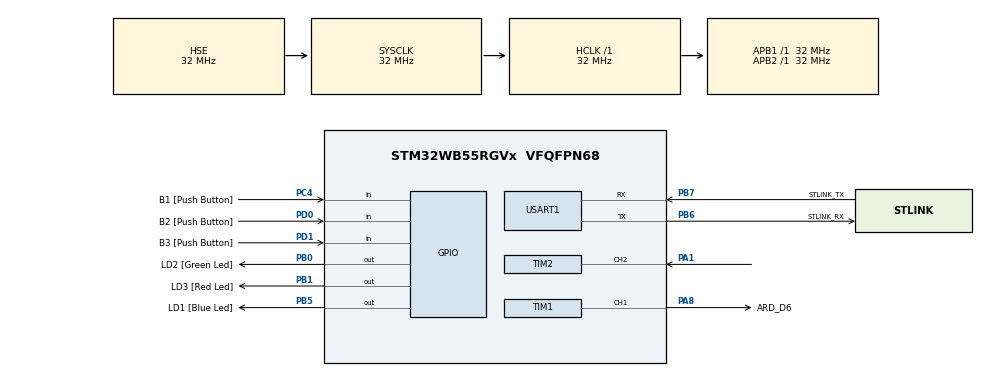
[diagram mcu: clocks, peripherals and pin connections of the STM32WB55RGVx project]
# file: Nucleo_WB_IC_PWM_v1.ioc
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Mcu.Family=STM32WB
Mcu.Name=STM32WB55RGVx
Mcu.Package=VFQFPN68
NVIC.PriorityGroup=NVIC_PRIORITYGROUP_4
NVIC.TIM2_IRQn=true\:0\:0\:false\:false\:true\:true\:true
OSC_IN.Mode=HSE-External-Oscillator
OSC_IN.Signal=RCC_OSC_IN
OSC_OUT.Mode=HSE-External-Oscillator
OSC_OUT.Signal=RCC_OSC_OUT
PA1.Signal=S_TIM2_CH2
PA13.GPIO_Label=JTMS
PA13.Mode=Trace_Asynchronous_SW
PA13.Signal=SYS_JTMS-SWDIO
PA14.GPIO_Label=JTCK
PA14.Mode=Trace_Asynchronous_SW
PA14.Signal=SYS_JTCK-SWCLK
PA8.GPIO_Label=ARD_D6
PA8.Signal=S_TIM1_CH1
PB0.GPIO_Label=LD2 [Green Led]
PB0.Signal=GPIO_Output
PB1.GPIO_Label=LD3 [Red Led]
PB1.Signal=GPIO_Output
PB3.GPIO_Label=JTDO
PB3.Mode=Trace_Asynchronous_SW
PB3.Signal=SYS_JTDO-SWO
PB5.GPIO_Label=LD1 [Blue Led]
PB5.Signal=GPIO_Output
PB6.GPIO_Label=STLINK_RX
PB6.GPIO_PuPd=GPIO_PULLUP
PB6.Mode=Asynchronous
PB6.Signal=USART1_TX
PB7.GPIO_Label=STLINK_TX
PB7.GPIO_PuPd=GPIO_PULLUP
PB7.Mode=Asynchronous
PB7.Signal=USART1_RX
PC13.Mode=SYS_WakeUp1
PC13.Signal=SYS_WKUP2
PC14-OSC32_IN.Mode=LSE-External-Oscillator
PC14-OSC32_IN.Signal=RCC_OSC32_IN
PC15-OSC32_OUT.Mode=LSE-External-Oscillator
PC15-OSC32_OUT.Signal=RCC_OSC32_OUT
PC4.GPIO_Label=B1 [Push Button]
PC4.Signal=GPIO_Input
PD0.GPIO_Label=B2 [Push Button]
PD0.Signal=GPIO_Input
PD1.GPIO_Label=B3 [Push Button]
PD1.Signal=GPIO_Input
ProjectManager.HeapSize=0x200
ProjectManager.StackSize=0x400
ProjectManager.TargetToolchain=STM32CubeIDE
RCC.ADCFreq_Value=48000000
RCC.AHBFreq_Value=32000000
RCC.APB1Freq_Value=32000000
RCC.APB1TimFreq_Value=32000000
RCC.APB2Freq_Value=32000000
RCC.APB2TimFreq_Value=32000000
RCC.APB3Freq_Value=16000000
RCC.CortexFreq_Value=32000000
RCC.HCLKFreq_Value=32000000
RCC.HSE_VALUE=32000000
RCC.HSI48_VALUE=48000000
RCC.HSI_VALUE=16000000
RCC.PLLN=32
RCC.PLLSAI1N=24
RCC.SMPSCLockSelectionVirtual=RCC_SMPSCLKSOURCE_HSI
RCC.SMPSCLockSelectionVirtualVirtual=RCC_SMPSCLKSOURCE_HSI
RCC.SMPSDivider=1
RCC.SYSCLKFreq_VALUE=32000000
RCC.SYSCLKSource=RCC_SYSCLKSOURCE_HSE
RCC.USBFreq_Value=48000000
RCC.VCOOutputFreq_Value=128000000
SH.S_TIM1_CH1.0=TIM1_CH1,PWM Generation1 CH1
SH.S_TIM2_CH2.0=TIM2_CH2,Input_Capture2_from_TI2
TIM1.Channel-PWM\ Generation1\ CH1=TIM_CHANNEL_1
TIM1.Period=1279
TIM1.Prescaler=1249
TIM1.Pulse-PWM\ Generation1\ CH1=639
TIM2.Channel-Input_Capture2_from_TI2=TIM_CHANNEL_2
TIM2.Period=0xffffffff
TIM2.Prescaler=0
USART1.VirtualMode-Asynchronous=VM_ASYNC
USART1.WordLength=WORDLENGTH_8B
VP_TIM1_VS_ClockSourceINT.Mode=Internal
VP_TIM2_VS_ClockSourceINT.Mode=Internal
board=P-NUCLEO-WB55-Nucleo

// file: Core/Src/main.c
/* USER CODE BEGIN Header */
/**
 ******************************************************************************
 * @file           : main.c
 * @brief          : Main program body
 ******************************************************************************
 * @attention
 *
 * <h2><center>&copy; Copyright (c) 2022 STMicroelectronics.
 * All rights reserved.</center></h2>
 *
 * This software component is licensed by ST under BSD 3-Clause license,
 * the "License"; You may not use this file except in compliance with the
 * License. You may obtain a copy of the License at:
 *                        opensource.org/licenses/BSD-3-Clause
 *
 ******************************************************************************

 // interrupt based version
 // TODO DMA version
 */
/* USER CODE END Header */
#include "main.h"

/* USER CODE BEGIN Includes */
#include <stdio.h>
#include <math.h>
#include <string.h> /* strlen */
#include <inttypes.h>

/* USER CODE END Includes */

TIM_HandleTypeDef htim1;
TIM_HandleTypeDef htim2;

UART_HandleTypeDef huart1;

/* USER CODE BEGIN PV */
#define TX_BUF_DIM    256
char buffer[TX_BUF_DIM];

uint32_t captures[2];

volatile uint8_t  captureDone = 0;
volatile uint16_t uhCaptureIndex = 0;
volatile uint32_t diffCapture = 0;
volatile float period = 0;

/* USER CODE END PV */

void SystemClock_Config(void);
static void MX_GPIO_Init(void);
static void MX_TIM2_Init(void);
static void MX_USART1_UART_Init(void);
static void MX_TIM1_Init(void);
/* USER CODE BEGIN PFP */

static float getFrequency(void);
/* USER CODE END PFP */

/* USER CODE BEGIN 0 */

uint32_t DWT_Delay_Init(void)
{
	/* Disable TRC */
	CoreDebug->DEMCR &= ~CoreDebug_DEMCR_TRCENA_Msk; // ~0x01000000;
	/* Enable TRC */
	CoreDebug->DEMCR |=  CoreDebug_DEMCR_TRCENA_Msk; // 0x01000000;
	/* Disable clock cycle counter */
	DWT->CTRL &= ~DWT_CTRL_CYCCNTENA_Msk; //~0x00000001;
	/* Enable  clock cycle counter */
	DWT->CTRL |=  DWT_CTRL_CYCCNTENA_Msk; //0x00000001;
	/* Reset the clock cycle counter value */
	DWT->CYCCNT = 0;
	/* 3 NO OPERATION instructions */
	__ASM volatile ("NOP");
	__ASM volatile ("NOP");
	__ASM volatile ("NOP");
	/* Check if clock cycle counter has started */
	if(DWT->CYCCNT)
	{
		return 0; /*clock cycle counter started*/
	}
	else
	{
		return 1; /*clock cycle counter not started*/
	}
}

// This Function Provides Delay In Microseconds Using DWT
__STATIC_INLINE void DWT_Delay_us(volatile uint32_t au32_microseconds)
{
	uint32_t au32_initial_ticks = DWT->CYCCNT;
	uint32_t au32_ticks = (HAL_RCC_GetHCLKFreq() / 1000000);
	au32_microseconds *= au32_ticks;
	while ((DWT->CYCCNT - au32_initial_ticks) < au32_microseconds-au32_ticks);
}

// WARNING UART1 is connected to st-link
// Properties -> Settings -> MCU_Settings -> select use float with printf
/*
 * USART1, BaudRate = 115200, WordLength = UART_WORDLENGTH_8B, StopBits = UART_STOPBITS_1;
 * */
int _write(int file, char *ptr, int len)
{
	HAL_UART_Transmit(&huart1,(uint8_t *)ptr, len, 10);
	return len;
}

/* USER CODE END 0 */

int main(void)
{

  /* MCU Configuration--------------------------------------------------------*/

  /* Reset of all peripherals, Initializes the Flash interface and the Systick. */
  HAL_Init();

  /* Configure the system clock */
  SystemClock_Config();

  /* Initialize all configured peripherals */
  MX_GPIO_Init();
  MX_TIM2_Init();
  MX_USART1_UART_Init();
  MX_TIM1_Init();
  /* USER CODE BEGIN 2 */

	printf("start\n");
	// TIM1_freq =32 MHz
	// T = (ARR+1)*(PSC+1)/32e6 =0.05s  avec PSC=1249 ARR=1279
	// Pulse=6399
	if ( HAL_OK != HAL_TIM_PWM_Start (&htim1, TIM_CHANNEL_1) )
		Error_Handler();

	// Start the Input Capture in interrupt mode
	if (HAL_OK != HAL_TIM_IC_Start_IT(&htim2, TIM_CHANNEL_2) )
	    Error_Handler();

  /* USER CODE END 2 */

  /* Infinite loop */
	while (1)
	{

    /* USER CODE BEGIN 3 */
		//#define DEVINFO
#ifdef DEVINFO
		uint32_t CCR_value = __HAL_TIM_GetCompare(&htim1, TIM_CHANNEL_1);
		uint32_t TIM1_count = __HAL_TIM_GetCounter(&htim1);
		GPIO_PinState PA8_state=HAL_GPIO_ReadPin (GPIOA, GPIO_PIN_8);
		printf("CCR_value %lu count %lu PA8_state %d\n", CCR_value, TIM1_count, PA8_state);
#endif

		float freq=getFrequency();
		printf("freq %f Hz\n", freq);
	}
  /* USER CODE END 3 */
}

void SystemClock_Config(void)
{
  RCC_OscInitTypeDef RCC_OscInitStruct = {0};
  RCC_ClkInitTypeDef RCC_ClkInitStruct = {0};
  RCC_PeriphCLKInitTypeDef PeriphClkInitStruct = {0};

  /** Configure the main internal regulator output voltage
  */
  __HAL_PWR_VOLTAGESCALING_CONFIG(PWR_REGULATOR_VOLTAGE_SCALE1);
  /** Initializes the RCC Oscillators according to the specified parameters
  * in the RCC_OscInitTypeDef structure.
  */
  RCC_OscInitStruct.OscillatorType = RCC_OSCILLATORTYPE_HSI|RCC_OSCILLATORTYPE_HSE;
  RCC_OscInitStruct.HSEState = RCC_HSE_ON;
  RCC_OscInitStruct.HSIState = RCC_HSI_ON;
  RCC_OscInitStruct.HSICalibrationValue = RCC_HSICALIBRATION_DEFAULT;
  RCC_OscInitStruct.PLL.PLLState = RCC_PLL_NONE;
  if (HAL_RCC_OscConfig(&RCC_OscInitStruct) != HAL_OK)
  {
    Error_Handler();
  }
  /** Configure the SYSCLKSource, HCLK, PCLK1 and PCLK2 clocks dividers
  */
  RCC_ClkInitStruct.ClockType = RCC_CLOCKTYPE_HCLK4|RCC_CLOCKTYPE_HCLK2
                              |RCC_CLOCKTYPE_HCLK|RCC_CLOCKTYPE_SYSCLK
                              |RCC_CLOCKTYPE_PCLK1|RCC_CLOCKTYPE_PCLK2;
  RCC_ClkInitStruct.SYSCLKSource = RCC_SYSCLKSOURCE_HSE;
  RCC_ClkInitStruct.AHBCLKDivider = RCC_SYSCLK_DIV1;
  RCC_ClkInitStruct.APB1CLKDivider = RCC_HCLK_DIV1;
  RCC_ClkInitStruct.APB2CLKDivider = RCC_HCLK_DIV1;
  RCC_ClkInitStruct.AHBCLK2Divider = RCC_SYSCLK_DIV1;
  RCC_ClkInitStruct.AHBCLK4Divider = RCC_SYSCLK_DIV1;

  if (HAL_RCC_ClockConfig(&RCC_ClkInitStruct, FLASH_LATENCY_1) != HAL_OK)
  {
    Error_Handler();
  }
  /** Initializes the peripherals clocks
  */
  PeriphClkInitStruct.PeriphClockSelection = RCC_PERIPHCLK_SMPS|RCC_PERIPHCLK_USART1;
  PeriphClkInitStruct.Usart1ClockSelection = RCC_USART1CLKSOURCE_PCLK2;
  PeriphClkInitStruct.SmpsClockSelection = RCC_SMPSCLKSOURCE_HSI;
  PeriphClkInitStruct.SmpsDivSelection = RCC_SMPSCLKDIV_RANGE0;
  if (HAL_RCCEx_PeriphCLKConfig(&PeriphClkInitStruct) != HAL_OK)
  {
    Error_Handler();
  }
}

static void MX_TIM1_Init(void)
{

  TIM_ClockConfigTypeDef sClockSourceConfig = {0};
  TIM_MasterConfigTypeDef sMasterConfig = {0};
  TIM_OC_InitTypeDef sConfigOC = {0};
  TIM_BreakDeadTimeConfigTypeDef sBreakDeadTimeConfig = {0};

  htim1.Instance = TIM1;
  htim1.Init.Prescaler = 1249;
  htim1.Init.CounterMode = TIM_COUNTERMODE_UP;
  htim1.Init.Period = 1279;
  htim1.Init.ClockDivision = TIM_CLOCKDIVISION_DIV1;
  htim1.Init.RepetitionCounter = 0;
  htim1.Init.AutoReloadPreload = TIM_AUTORELOAD_PRELOAD_DISABLE;
  if (HAL_TIM_Base_Init(&htim1) != HAL_OK)
  {
    Error_Handler();
  }
  sClockSourceConfig.ClockSource = TIM_CLOCKSOURCE_INTERNAL;
  if (HAL_TIM_ConfigClockSource(&htim1, &sClockSourceConfig) != HAL_OK)
  {
    Error_Handler();
  }
  if (HAL_TIM_PWM_Init(&htim1) != HAL_OK)
  {
    Error_Handler();
  }
  sMasterConfig.MasterOutputTrigger = TIM_TRGO_RESET;
  sMasterConfig.MasterOutputTrigger2 = TIM_TRGO2_RESET;
  sMasterConfig.MasterSlaveMode = TIM_MASTERSLAVEMODE_DISABLE;
  if (HAL_TIMEx_MasterConfigSynchronization(&htim1, &sMasterConfig) != HAL_OK)
  {
    Error_Handler();
  }
  sConfigOC.OCMode = TIM_OCMODE_PWM1;
  sConfigOC.Pulse = 639;
  sConfigOC.OCPolarity = TIM_OCPOLARITY_HIGH;
  sConfigOC.OCNPolarity = TIM_OCNPOLARITY_HIGH;
  sConfigOC.OCFastMode = TIM_OCFAST_DISABLE;
  sConfigOC.OCIdleState = TIM_OCIDLESTATE_RESET;
  sConfigOC.OCNIdleState = TIM_OCNIDLESTATE_RESET;
  if (HAL_TIM_PWM_ConfigChannel(&htim1, &sConfigOC, TIM_CHANNEL_1) != HAL_OK)
  {
    Error_Handler();
  }
  sBreakDeadTimeConfig.OffStateRunMode = TIM_OSSR_DISABLE;
  sBreakDeadTimeConfig.OffStateIDLEMode = TIM_OSSI_DISABLE;
  sBreakDeadTimeConfig.LockLevel = TIM_LOCKLEVEL_OFF;
  sBreakDeadTimeConfig.DeadTime = 0;
  sBreakDeadTimeConfig.BreakState = TIM_BREAK_DISABLE;
  sBreakDeadTimeConfig.BreakPolarity = TIM_BREAKPOLARITY_HIGH;
  sBreakDeadTimeConfig.BreakFilter = 0;
  sBreakDeadTimeConfig.BreakAFMode = TIM_BREAK_AFMODE_INPUT;
  sBreakDeadTimeConfig.Break2State = TIM_BREAK2_DISABLE;
  sBreakDeadTimeConfig.Break2Polarity = TIM_BREAK2POLARITY_HIGH;
  sBreakDeadTimeConfig.Break2Filter = 0;
  sBreakDeadTimeConfig.Break2AFMode = TIM_BREAK_AFMODE_INPUT;
  sBreakDeadTimeConfig.AutomaticOutput = TIM_AUTOMATICOUTPUT_DISABLE;
  if (HAL_TIMEx_ConfigBreakDeadTime(&htim1, &sBreakDeadTimeConfig) != HAL_OK)
  {
    Error_Handler();
  }
  HAL_TIM_MspPostInit(&htim1);

}

static void MX_TIM2_Init(void)
{

  TIM_ClockConfigTypeDef sClockSourceConfig = {0};
  TIM_MasterConfigTypeDef sMasterConfig = {0};
  TIM_IC_InitTypeDef sConfigIC = {0};

  htim2.Instance = TIM2;
  htim2.Init.Prescaler = 0;
  htim2.Init.CounterMode = TIM_COUNTERMODE_UP;
  htim2.Init.Period = 0xffffffff;
  htim2.Init.ClockDivision = TIM_CLOCKDIVISION_DIV1;
  htim2.Init.AutoReloadPreload = TIM_AUTORELOAD_PRELOAD_DISABLE;
  if (HAL_TIM_Base_Init(&htim2) != HAL_OK)
  {
    Error_Handler();
  }
  sClockSourceConfig.ClockSource = TIM_CLOCKSOURCE_INTERNAL;
  if (HAL_TIM_ConfigClockSource(&htim2, &sClockSourceConfig) != HAL_OK)
  {
    Error_Handler();
  }
  if (HAL_TIM_IC_Init(&htim2) != HAL_OK)
  {
    Error_Handler();
  }
  sMasterConfig.MasterOutputTrigger = TIM_TRGO_RESET;
  sMasterConfig.MasterSlaveMode = TIM_MASTERSLAVEMODE_DISABLE;
  if (HAL_TIMEx_MasterConfigSynchronization(&htim2, &sMasterConfig) != HAL_OK)
  {
    Error_Handler();
  }
  sConfigIC.ICPolarity = TIM_INPUTCHANNELPOLARITY_RISING;
  sConfigIC.ICSelection = TIM_ICSELECTION_DIRECTTI;
  sConfigIC.ICPrescaler = TIM_ICPSC_DIV1;
  sConfigIC.ICFilter = 0;
  if (HAL_TIM_IC_ConfigChannel(&htim2, &sConfigIC, TIM_CHANNEL_2) != HAL_OK)
  {
    Error_Handler();
  }

}

static void MX_USART1_UART_Init(void)
{

  huart1.Instance = USART1;
  huart1.Init.BaudRate = 115200;
  huart1.Init.WordLength = UART_WORDLENGTH_8B;
  huart1.Init.StopBits = UART_STOPBITS_1;
  huart1.Init.Parity = UART_PARITY_NONE;
  huart1.Init.Mode = UART_MODE_TX_RX;
  huart1.Init.HwFlowCtl = UART_HWCONTROL_NONE;
  huart1.Init.OverSampling = UART_OVERSAMPLING_16;
  huart1.Init.OneBitSampling = UART_ONE_BIT_SAMPLE_DISABLE;
  huart1.Init.ClockPrescaler = UART_PRESCALER_DIV1;
  huart1.AdvancedInit.AdvFeatureInit = UART_ADVFEATURE_NO_INIT;
  if (HAL_UART_Init(&huart1) != HAL_OK)
  {
    Error_Handler();
  }
  if (HAL_UARTEx_SetTxFifoThreshold(&huart1, UART_TXFIFO_THRESHOLD_1_8) != HAL_OK)
  {
    Error_Handler();
  }
  if (HAL_UARTEx_SetRxFifoThreshold(&huart1, UART_RXFIFO_THRESHOLD_1_8) != HAL_OK)
  {
    Error_Handler();
  }
  if (HAL_UARTEx_DisableFifoMode(&huart1) != HAL_OK)
  {
    Error_Handler();
  }

}

static void MX_GPIO_Init(void)
{
  GPIO_InitTypeDef GPIO_InitStruct = {0};

  /* GPIO Ports Clock Enable */
  __HAL_RCC_GPIOC_CLK_ENABLE();
  __HAL_RCC_GPIOA_CLK_ENABLE();
  __HAL_RCC_GPIOB_CLK_ENABLE();
  __HAL_RCC_GPIOD_CLK_ENABLE();

  /*Configure GPIO pin Output Level */
  HAL_GPIO_WritePin(GPIOB, LD2_Pin|LD3_Pin|LD1_Pin, GPIO_PIN_RESET);

  /*Configure GPIO pin : B1_Pin */
  GPIO_InitStruct.Pin = B1_Pin;
  GPIO_InitStruct.Mode = GPIO_MODE_INPUT;
  GPIO_InitStruct.Pull = GPIO_NOPULL;
  HAL_GPIO_Init(B1_GPIO_Port, &GPIO_InitStruct);

  /*Configure GPIO pins : LD2_Pin LD3_Pin LD1_Pin */
  GPIO_InitStruct.Pin = LD2_Pin|LD3_Pin|LD1_Pin;
  GPIO_InitStruct.Mode = GPIO_MODE_OUTPUT_PP;
  GPIO_InitStruct.Pull = GPIO_NOPULL;
  GPIO_InitStruct.Speed = GPIO_SPEED_FREQ_LOW;
  HAL_GPIO_Init(GPIOB, &GPIO_InitStruct);

  /*Configure GPIO pins : B2_Pin B3_Pin */
  GPIO_InitStruct.Pin = B2_Pin|B3_Pin;
  GPIO_InitStruct.Mode = GPIO_MODE_INPUT;
  GPIO_InitStruct.Pull = GPIO_NOPULL;
  HAL_GPIO_Init(GPIOD, &GPIO_InitStruct);

}

/* USER CODE BEGIN 4 */
void HAL_TIM_IC_CaptureCallback(TIM_HandleTypeDef *htim)
{
	if (htim->Channel == HAL_TIM_ACTIVE_CHANNEL_2)
	{
		if(uhCaptureIndex == 0)
		{
			/* Get the 1st Input Capture value */
			captures[0] = HAL_TIM_ReadCapturedValue(htim, TIM_CHANNEL_2);
			uhCaptureIndex = 1;
		}
		else if(uhCaptureIndex == 1)
		{
			/* Get the 2nd Input Capture value */
			captures[1] = HAL_TIM_ReadCapturedValue(htim, TIM_CHANNEL_2);
			/* Capture computation */
			if (captures[1] >= captures[0])
				diffCapture = captures[1] - captures[0];
			else
				diffCapture = ((htim->Instance->ARR - captures[0]) + captures[1]) + 1;

			uhCaptureIndex = 0;
			captureDone=1;
		}
	}
}

static float getFrequency(){
	captureDone=0;
	while(!captureDone) {}
	/* Frequency computation: for this example TIMx (TIM2) is clocked by APB1Clk */
	float frequency = 1.0*HAL_RCC_GetPCLK1Freq()/ (htim2.Instance->PSC + 1.0);
	frequency = frequency / (float) diffCapture;
	return frequency;
}

/* USER CODE END 4 */

void Error_Handler(void)
{
	__disable_irq();
	while (1)
	{
	}
}

/************************ (C) COPYRIGHT STMicroelectronics *****END OF FILE****/
